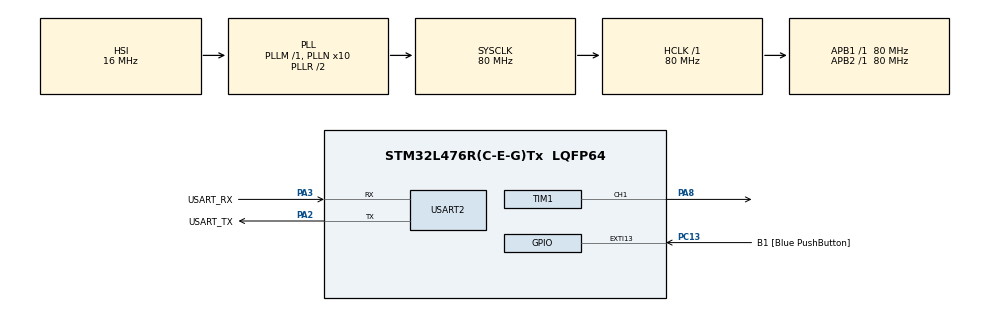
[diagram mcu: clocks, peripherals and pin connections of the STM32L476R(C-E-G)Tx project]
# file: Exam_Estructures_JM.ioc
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Mcu.Family=STM32L4
Mcu.Name=STM32L476R(C-E-G)Tx
Mcu.Package=LQFP64
NVIC.PriorityGroup=NVIC_PRIORITYGROUP_4
NVIC.USART2_IRQn=true\:0\:0\:false\:false\:true\:true\:true\:true
PA13\ (JTMS-SWDIO).GPIO_Label=TMS
PA13\ (JTMS-SWDIO).Mode=Serial_Wire
PA13\ (JTMS-SWDIO).Signal=SYS_JTMS-SWDIO
PA14\ (JTCK-SWCLK).GPIO_Label=TCK
PA14\ (JTCK-SWCLK).Mode=Serial_Wire
PA14\ (JTCK-SWCLK).Signal=SYS_JTCK-SWCLK
PA2.GPIO_Label=USART_TX
PA2.GPIO_Mode=GPIO_MODE_AF_PP
PA2.GPIO_PuPd=GPIO_NOPULL
PA2.GPIO_Speed=GPIO_SPEED_FREQ_VERY_HIGH
PA2.Mode=Asynchronous
PA2.Signal=USART2_TX
PA3.GPIO_Label=USART_RX
PA3.GPIO_Mode=GPIO_MODE_AF_PP
PA3.GPIO_PuPd=GPIO_NOPULL
PA3.GPIO_Speed=GPIO_SPEED_FREQ_VERY_HIGH
PA3.Mode=Asynchronous
PA3.Signal=USART2_RX
PA8.Signal=S_TIM1_CH1
PB3\ (JTDO-TRACESWO).GPIO_Label=SWO
PB3\ (JTDO-TRACESWO).Signal=SYS_JTDO-SWO
PC13.GPIO_Label=B1 [Blue PushButton]
PC13.GPIO_ModeDefaultEXTI=GPIO_MODE_IT_FALLING
PC13.GPIO_PuPd=GPIO_NOPULL
PC13.Signal=GPXTI13
PC14-OSC32_IN\ (PC14).Mode=LSE-External-Oscillator
PC14-OSC32_IN\ (PC14).Signal=RCC_OSC32_IN
PC15-OSC32_OUT\ (PC15).Mode=LSE-External-Oscillator
PC15-OSC32_OUT\ (PC15).Signal=RCC_OSC32_OUT
PH0-OSC_IN\ (PH0).Signal=RCC_OSC_IN
PH1-OSC_OUT\ (PH1).Signal=RCC_OSC_OUT
ProjectManager.HeapSize=0x200
ProjectManager.StackSize=0x400
ProjectManager.TargetToolchain=STM32CubeIDE
RCC.ADCFreq_Value=64000000
RCC.AHBFreq_Value=80000000
RCC.APB1Freq_Value=80000000
RCC.APB1TimFreq_Value=80000000
RCC.APB2Freq_Value=80000000
RCC.APB2TimFreq_Value=80000000
RCC.CortexFreq_Value=80000000
RCC.HCLKFreq_Value=80000000
RCC.HSE_VALUE=8000000
RCC.HSI_VALUE=16000000
RCC.MSI_VALUE=4000000
RCC.PLLN=10
RCC.PLLSourceVirtual=RCC_PLLSOURCE_HSI
RCC.PREFETCH_ENABLE=1
RCC.SYSCLKFreq_VALUE=80000000
RCC.SYSCLKSource=RCC_SYSCLKSOURCE_PLLCLK
RCC.USBFreq_Value=64000000
RCC.VCOOutputFreq_Value=160000000
SH.S_TIM1_CH1.0=TIM1_CH1,PWM Generation1 CH1
TIM1.Channel-PWM\ Generation1\ CH1=TIM_CHANNEL_1
TIM1.Period=100-1
TIM1.Prescaler=800
TIM7.Period=100-1
TIM7.Prescaler=800-1
USART2.VirtualMode-Asynchronous=VM_ASYNC
VP_TIM7_VS_ClockSourceINT.Mode=Enable_Timer
board=NUCLEO-L476RG

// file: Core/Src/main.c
/* USER CODE BEGIN Header */
/**
  ******************************************************************************
  * @file           : main.c
  * @brief          : Main program body
  ******************************************************************************
  * @attention
  *
  * Copyright (c) 2023 STMicroelectronics.
  * All rights reserved.
  *
  * This software is licensed under terms that can be found in the LICENSE file
  * in the root directory of this software component.
  * If no LICENSE file comes with this software, it is provided AS-IS.
  *
  ******************************************************************************
  */
/* USER CODE END Header */
#include "main.h"

/* USER CODE BEGIN Includes */
#include <stdio.h>
/* USER CODE END Includes */

TIM_HandleTypeDef htim1;
TIM_HandleTypeDef htim7;

UART_HandleTypeDef huart2;

void SystemClock_Config(void);
static void MX_GPIO_Init(void);
static void MX_USART2_UART_Init(void);
static void MX_TIM1_Init(void);
static void MX_TIM7_Init(void);

/* USER CODE BEGIN 0 */
uint8_t Rec_data[2];
uint8_t varpwm=0;

int _write(int file, char *ptr, int len)
{
	HAL_UART_Transmit(&huart2,(uint8_t*)ptr,len,HAL_MAX_DELAY);
	return len;
}

void HAL_UART_RxCpltCallback(UART_HandleTypeDef *huart)
{

	    Rec_data[0] =Rec_data[0]-48;
		Rec_data[1]=Rec_data[1]-48;
		varpwm = Rec_data[0]*10 +Rec_data[1];
	    htim1.Instance->CCR1 = varpwm;
		printf("El valor es es:%d %d\r\n",Rec_data[0],Rec_data[1]);
		HAL_UART_Receive_IT(&huart2,Rec_data,2);

}

void HAL_TIM_PeriodElapsedCallback(TIM_HandleTypeDef *htim){
	static uint32_t counter=0;
	printf("counter: %d\r\n",counter++);
}
/* USER CODE END 0 */

int main(void)
{

  /* MCU Configuration--------------------------------------------------------*/

  /* Reset of all peripherals, Initializes the Flash interface and the Systick. */
  HAL_Init();

  /* Configure the system clock */
  SystemClock_Config();

  /* Initialize all configured peripherals */
  MX_GPIO_Init();
  MX_USART2_UART_Init();
  MX_TIM1_Init();
  MX_TIM7_Init();
  /* USER CODE BEGIN 2 */
  HAL_TIM_PWM_Start(&htim1, TIM_CHANNEL_1);
  HAL_TIM_Base_Start_IT(&htim7);
  /* USER CODE END 2 */

  /* Infinite loop */
  /* USER CODE BEGIN WHILE */
  while (1)
  {

	  	 HAL_UART_Receive_IT(&huart2, Rec_data, 2);
	  	 HAL_TIM_Base_Start_IT(&htim7);
	 	 htim1.Instance->CCR1 = varpwm;
	 	 printf("El pwm es: %d\r\n",varpwm);
	 	 HAL_Delay(1000);

  }
    /* USER CODE END WHILE */

  }

void SystemClock_Config(void)
{
  RCC_OscInitTypeDef RCC_OscInitStruct = {0};
  RCC_ClkInitTypeDef RCC_ClkInitStruct = {0};

  /** Configure the main internal regulator output voltage
  */
  if (HAL_PWREx_ControlVoltageScaling(PWR_REGULATOR_VOLTAGE_SCALE1) != HAL_OK)
  {
    Error_Handler();
  }

  /** Initializes the RCC Oscillators according to the specified parameters
  * in the RCC_OscInitTypeDef structure.
  */
  RCC_OscInitStruct.OscillatorType = RCC_OSCILLATORTYPE_HSI;
  RCC_OscInitStruct.HSIState = RCC_HSI_ON;
  RCC_OscInitStruct.HSICalibrationValue = RCC_HSICALIBRATION_DEFAULT;
  RCC_OscInitStruct.PLL.PLLState = RCC_PLL_ON;
  RCC_OscInitStruct.PLL.PLLSource = RCC_PLLSOURCE_HSI;
  RCC_OscInitStruct.PLL.PLLM = 1;
  RCC_OscInitStruct.PLL.PLLN = 10;
  RCC_OscInitStruct.PLL.PLLP = RCC_PLLP_DIV7;
  RCC_OscInitStruct.PLL.PLLQ = RCC_PLLQ_DIV2;
  RCC_OscInitStruct.PLL.PLLR = RCC_PLLR_DIV2;
  if (HAL_RCC_OscConfig(&RCC_OscInitStruct) != HAL_OK)
  {
    Error_Handler();
  }

  /** Initializes the CPU, AHB and APB buses clocks
  */
  RCC_ClkInitStruct.ClockType = RCC_CLOCKTYPE_HCLK|RCC_CLOCKTYPE_SYSCLK
                              |RCC_CLOCKTYPE_PCLK1|RCC_CLOCKTYPE_PCLK2;
  RCC_ClkInitStruct.SYSCLKSource = RCC_SYSCLKSOURCE_PLLCLK;
  RCC_ClkInitStruct.AHBCLKDivider = RCC_SYSCLK_DIV1;
  RCC_ClkInitStruct.APB1CLKDivider = RCC_HCLK_DIV1;
  RCC_ClkInitStruct.APB2CLKDivider = RCC_HCLK_DIV1;

  if (HAL_RCC_ClockConfig(&RCC_ClkInitStruct, FLASH_LATENCY_4) != HAL_OK)
  {
    Error_Handler();
  }
}

static void MX_TIM1_Init(void)
{

  TIM_MasterConfigTypeDef sMasterConfig = {0};
  TIM_OC_InitTypeDef sConfigOC = {0};
  TIM_BreakDeadTimeConfigTypeDef sBreakDeadTimeConfig = {0};

  htim1.Instance = TIM1;
  htim1.Init.Prescaler = 800;
  htim1.Init.CounterMode = TIM_COUNTERMODE_UP;
  htim1.Init.Period = 100-1;
  htim1.Init.ClockDivision = TIM_CLOCKDIVISION_DIV1;
  htim1.Init.RepetitionCounter = 0;
  htim1.Init.AutoReloadPreload = TIM_AUTORELOAD_PRELOAD_DISABLE;
  if (HAL_TIM_PWM_Init(&htim1) != HAL_OK)
  {
    Error_Handler();
  }
  sMasterConfig.MasterOutputTrigger = TIM_TRGO_RESET;
  sMasterConfig.MasterOutputTrigger2 = TIM_TRGO2_RESET;
  sMasterConfig.MasterSlaveMode = TIM_MASTERSLAVEMODE_DISABLE;
  if (HAL_TIMEx_MasterConfigSynchronization(&htim1, &sMasterConfig) != HAL_OK)
  {
    Error_Handler();
  }
  sConfigOC.OCMode = TIM_OCMODE_PWM1;
  sConfigOC.Pulse = 0;
  sConfigOC.OCPolarity = TIM_OCPOLARITY_HIGH;
  sConfigOC.OCNPolarity = TIM_OCNPOLARITY_HIGH;
  sConfigOC.OCFastMode = TIM_OCFAST_DISABLE;
  sConfigOC.OCIdleState = TIM_OCIDLESTATE_RESET;
  sConfigOC.OCNIdleState = TIM_OCNIDLESTATE_RESET;
  if (HAL_TIM_PWM_ConfigChannel(&htim1, &sConfigOC, TIM_CHANNEL_1) != HAL_OK)
  {
    Error_Handler();
  }
  sBreakDeadTimeConfig.OffStateRunMode = TIM_OSSR_DISABLE;
  sBreakDeadTimeConfig.OffStateIDLEMode = TIM_OSSI_DISABLE;
  sBreakDeadTimeConfig.LockLevel = TIM_LOCKLEVEL_OFF;
  sBreakDeadTimeConfig.DeadTime = 0;
  sBreakDeadTimeConfig.BreakState = TIM_BREAK_DISABLE;
  sBreakDeadTimeConfig.BreakPolarity = TIM_BREAKPOLARITY_HIGH;
  sBreakDeadTimeConfig.BreakFilter = 0;
  sBreakDeadTimeConfig.Break2State = TIM_BREAK2_DISABLE;
  sBreakDeadTimeConfig.Break2Polarity = TIM_BREAK2POLARITY_HIGH;
  sBreakDeadTimeConfig.Break2Filter = 0;
  sBreakDeadTimeConfig.AutomaticOutput = TIM_AUTOMATICOUTPUT_DISABLE;
  if (HAL_TIMEx_ConfigBreakDeadTime(&htim1, &sBreakDeadTimeConfig) != HAL_OK)
  {
    Error_Handler();
  }
  HAL_TIM_MspPostInit(&htim1);

}

static void MX_TIM7_Init(void)
{

  TIM_MasterConfigTypeDef sMasterConfig = {0};

  htim7.Instance = TIM7;
  htim7.Init.Prescaler = 800-1;
  htim7.Init.CounterMode = TIM_COUNTERMODE_UP;
  htim7.Init.Period = 100-1;
  htim7.Init.AutoReloadPreload = TIM_AUTORELOAD_PRELOAD_DISABLE;
  if (HAL_TIM_Base_Init(&htim7) != HAL_OK)
  {
    Error_Handler();
  }
  sMasterConfig.MasterOutputTrigger = TIM_TRGO_RESET;
  sMasterConfig.MasterSlaveMode = TIM_MASTERSLAVEMODE_DISABLE;
  if (HAL_TIMEx_MasterConfigSynchronization(&htim7, &sMasterConfig) != HAL_OK)
  {
    Error_Handler();
  }

}

static void MX_USART2_UART_Init(void)
{

  huart2.Instance = USART2;
  huart2.Init.BaudRate = 115200;
  huart2.Init.WordLength = UART_WORDLENGTH_8B;
  huart2.Init.StopBits = UART_STOPBITS_1;
  huart2.Init.Parity = UART_PARITY_NONE;
  huart2.Init.Mode = UART_MODE_TX_RX;
  huart2.Init.HwFlowCtl = UART_HWCONTROL_NONE;
  huart2.Init.OverSampling = UART_OVERSAMPLING_16;
  huart2.Init.OneBitSampling = UART_ONE_BIT_SAMPLE_DISABLE;
  huart2.AdvancedInit.AdvFeatureInit = UART_ADVFEATURE_NO_INIT;
  if (HAL_UART_Init(&huart2) != HAL_OK)
  {
    Error_Handler();
  }

}

static void MX_GPIO_Init(void)
{
  GPIO_InitTypeDef GPIO_InitStruct = {0};

  /* GPIO Ports Clock Enable */
  __HAL_RCC_GPIOC_CLK_ENABLE();
  __HAL_RCC_GPIOH_CLK_ENABLE();
  __HAL_RCC_GPIOA_CLK_ENABLE();
  __HAL_RCC_GPIOB_CLK_ENABLE();

  /*Configure GPIO pin : B1_Pin */
  GPIO_InitStruct.Pin = B1_Pin;
  GPIO_InitStruct.Mode = GPIO_MODE_IT_FALLING;
  GPIO_InitStruct.Pull = GPIO_NOPULL;
  HAL_GPIO_Init(B1_GPIO_Port, &GPIO_InitStruct);

}

void Error_Handler(void)
{
  __disable_irq();
  while (1)
  {
  }
}
